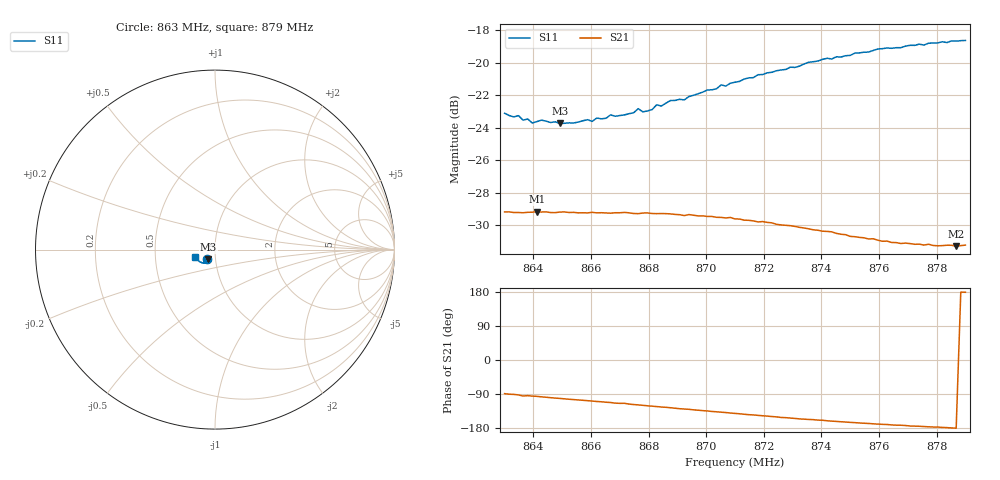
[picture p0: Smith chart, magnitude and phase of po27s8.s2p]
# HZ S RI R 50
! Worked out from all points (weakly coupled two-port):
!   101 points, 863 MHz to 879 MHz, reference 50 ohm
!   highest |S21| = -29.15 dB at 864.12 MHz (marker M1); lowest = -31.3 dB at 878.68 MHz (marker M2)
!   lowest |S11| = -23.7 dB at 864.92 MHz (marker M3), VSWR 1.14, Z = 46.1 - j4.93 ohm
!   |S11| at or under -10 dB: start of sweep to end of sweep
!   S12 and S22 are empty: the file has one direction only
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8.63e8  -0.0453 -0.0533  0.000739 -0.0348  0 0  0 0
8.6348e8  -0.0433 -0.0535  -0.00132 -0.0346  0 0  0 0
8.6396e8  -0.0394 -0.0521  -0.00318 -0.0346  0 0  0 0
8.6412e8  -0.0391 -0.0531  -0.00358 -0.0347  0 0  0 0
8.6492e8  -0.0375 -0.0532  -0.00685 -0.0341  0 0  0 0
8.6572e8  -0.0384 -0.0541  -0.0097 -0.0332  0 0  0 0
8.6604e8  -0.0338 -0.0567  -0.0109 -0.0329  0 0  0 0
8.6668e8  -0.035 -0.0597  -0.013 -0.0319  0 0  0 0
8.6748e8  -0.0341 -0.0614  -0.0159 -0.0305  0 0  0 0
8.6764e8  -0.0356 -0.0629  -0.0164 -0.0302  0 0  0 0
8.678e8  -0.0351 -0.0613  -0.017 -0.03  0 0  0 0
8.6812e8  -0.0357 -0.0623  -0.0181 -0.0292  0 0  0 0
8.6828e8  -0.0347 -0.0657  -0.0187 -0.0289  0 0  0 0
8.6844e8  -0.0355 -0.0645  -0.0192 -0.0285  0 0  0 0
8.6876e8  -0.0373 -0.0669  -0.0202 -0.0278  0 0  0 0
8.6924e8  -0.0375 -0.0671  -0.0215 -0.0262  0 0  0 0
8.7052e8  -0.0447 -0.073  -0.0248 -0.0225  0 0  0 0
8.71e8  -0.0467 -0.0736  -0.0257 -0.0208  0 0  0 0
8.7372e8  -0.0674 -0.075  -0.0283 -0.0118  0 0  0 0
8.7644e8  -0.0916 -0.0625  -0.0277 -0.00422  0 0  0 0
8.7868e8  -0.1085 -0.0428  -0.0273 -5.6e-05  0 0  0 0
8.79e8  -0.1103 -0.0395  -0.0275 0.000603  0 0  0 0
